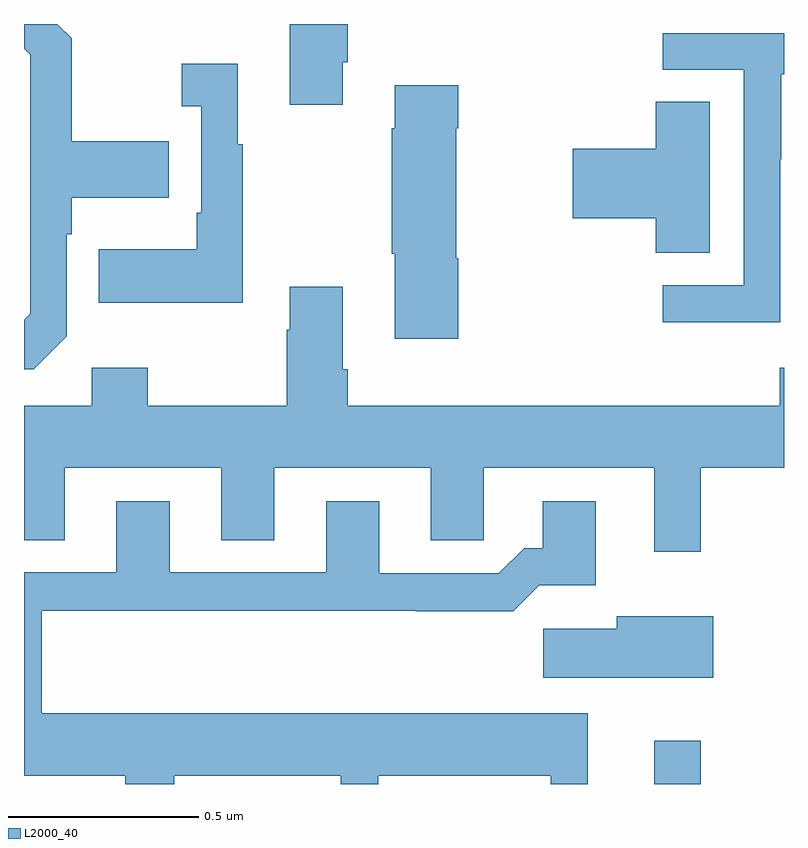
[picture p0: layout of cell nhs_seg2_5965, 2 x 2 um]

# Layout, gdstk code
import gdstk
lib = gdstk.Library(unit=1e-6, precision=1e-09)
def R(c, l, rs):  # rectangles x0, y0, x1, y1
    for r in rs: c.add(gdstk.rectangle(r[:2], r[2:], *l))
def P(c, l, *ps):  # polygons
    for p in ps: c.add(gdstk.Polygon(p, *l))
L2000_40 = (2000, 40)

nhs_seg2_5965 = lib.new_cell('nhs_seg2_5965')
R(nhs_seg2_5965, L2000_40, [(186.659,650.8,186.781,650.914)])
P(nhs_seg2_5965, L2000_40, [(185.112,651.978),(185.112,652.247),(185.125,652.247),(185.125,652.343),(185.381,652.343),(185.381,652.491),(185.125,652.491),(185.125,652.763),(185.088,652.8),(185,652.8),(185,652.735),(185.016,652.719),(185.016,652.038),(185,652.022),(185,651.891),(185.025,651.891)],
  [(185.839,652.699),(185.852,652.699),(185.852,652.8),(185.699,652.8),(185.699,652.587),(185.839,652.587)],
  [(186.99,652.444),(186.993,652.444),(186.993,652.668),(187,652.668),(187,652.776),(186.681,652.776),(186.681,652.68),(186.894,652.68),(186.894,652.113),(186.681,652.113),(186.681,652.015),(186.99,652.015)],
  [(185.575,652.483),(185.563,652.483),(185.563,652.696),(185.415,652.696),(185.415,652.583),(185.466,652.583),(185.466,652.303),(185.454,652.303),(185.454,652.207),(185.197,652.207),(185.197,652.067),(185.575,652.067)],
  [(186.143,652.184),(186.138,652.184),(186.138,652.526),(186.143,652.526),(186.143,652.639),(185.975,652.639),(185.975,652.526),(185.968,652.526),(185.968,652.195),(185.975,652.195),(185.975,651.972),(186.143,651.972)],
  [(186.805,652.595),(186.662,652.595),(186.662,652.472),(186.444,652.472),(186.444,652.289),(186.662,652.289),(186.662,652.198),(186.805,652.198)],
  [(186.781,651.632),(187,651.632),(187,651.895),(186.989,651.895),(186.989,651.796),(185.852,651.796),(185.852,651.892),(185.839,651.892),(185.839,652.108),(185.699,652.108),(185.699,651.995),(185.692,651.995),(185.692,651.796),(185.325,651.796),(185.325,651.895),(185.178,651.895),(185.178,651.796),(185,651.796),(185,651.442),(185.107,651.442),(185.107,651.632),(185.519,651.632),(185.519,651.442),(185.659,651.442),(185.659,651.632),(186.071,651.632),(186.071,651.442),(186.21,651.442),(186.21,651.632),(186.659,651.632),(186.659,651.411),(186.781,651.411)],
  [(185.395,650.822),(185.834,650.822),(185.834,650.8),(185.932,650.8),(185.932,650.822),(186.386,650.822),(186.386,650.8),(186.484,650.8),(186.484,650.986),(185.047,650.986),(185.047,651.256),(186.031,651.256),(186.031,651.254),(186.287,651.254),(186.356,651.323),(186.505,651.323),(186.505,651.544),(186.365,651.544),(186.365,651.421),(186.316,651.421),(186.249,651.354),(185.935,651.354),(185.935,651.544),(185.795,651.544),(185.795,651.357),(185.383,651.357),(185.383,651.544),(185.243,651.544),(185.243,651.357),(185,651.357),(185,650.822),(185.267,650.822),(185.267,650.8),(185.395,650.8)],
  [(186.814,651.241),(186.56,651.241),(186.56,651.209),(186.366,651.209),(186.366,651.08),(186.814,651.08)])

lib.write_gds('nhs_seg2_5965.gds')
